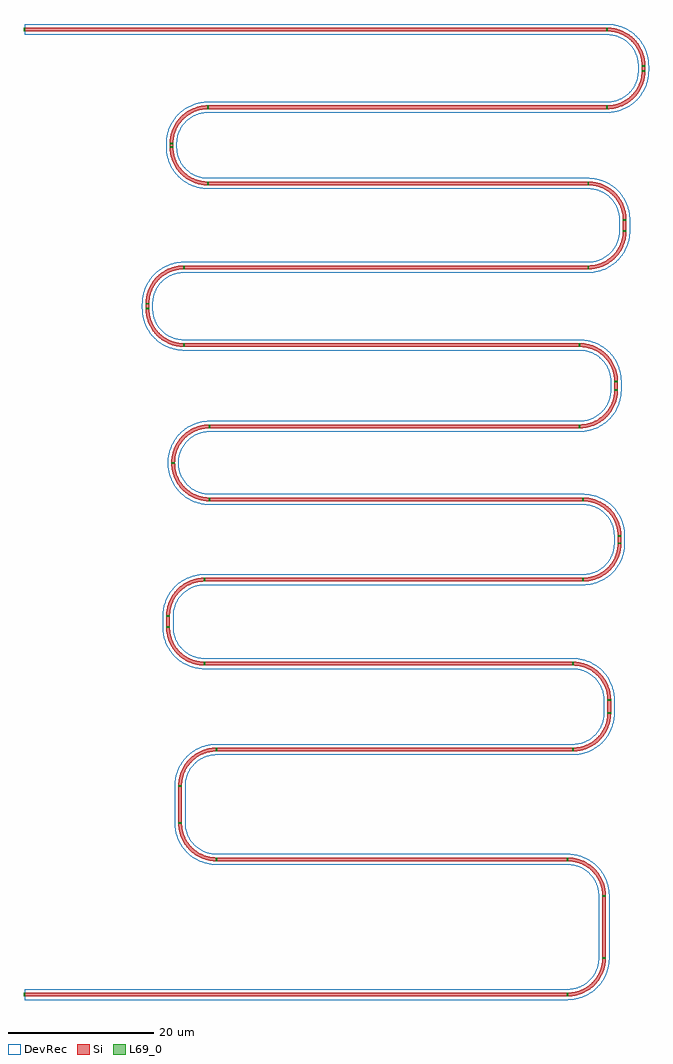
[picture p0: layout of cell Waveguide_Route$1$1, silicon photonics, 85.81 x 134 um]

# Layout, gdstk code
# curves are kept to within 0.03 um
from math import pi, radians
import gdstk
lib = gdstk.Library(unit=1e-6, precision=1e-09)
def R(c, l, rs):  # rectangles x0, y0, x1, y1
    for r in rs: c.add(gdstk.rectangle(r[:2], r[2:], *l))
def P(c, l, *ps):  # polygons
    for p in ps: c.add(gdstk.Polygon(p, *l))
Si = (1, 0)
DevRec = (68, 0)
L69_0 = (69, 0)

waveguide_bend_4 = lib.new_cell('Waveguide_Bend$4')
P(waveguide_bend_4, Si, [(-5,-0.25),(-5,0.25),(-4.057,0.345),(-3.151,0.625),(-2.432,1.004),(-1.69,1.594),(-1.079,2.319),(-0.625,3.151),(-0.345,4.057),(-0.25,5),(0.25,5),(0.145,3.957),(-0.164,2.956),(-0.583,2.162),(-1.235,1.341),(-2.037,0.666),(-2.956,0.164),(-3.957,-0.145)])
P(waveguide_bend_4, DevRec, [(-5,-0.75),(-5,0.75),(-4.156,0.835),(-3.346,1.085),(-2.702,1.425),(-2.038,1.952),(-1.492,2.601),(-1.085,3.346),(-0.835,4.156),(-0.75,5),(0.75,5),(0.666,4.019),(0.358,2.914),(-0.163,1.891),(-0.876,0.993),(-1.754,0.254),(-2.762,-0.296),(-3.858,-0.635)])
waveguide_bend_4.add(gdstk.FlexPath([(0,5.1),(0,4.9)], 0.5, ends="flush", simple_path=True, layer=69, datatype=0))  # L69_0
waveguide_bend_4.add(gdstk.FlexPath([(-4.9,0),(-5.1,0)], 0.5, ends="flush", simple_path=True, layer=69, datatype=0))  # L69_0
waveguide_bend_4.add(gdstk.Label('Lumerical_INTERCONNECT_library=Design kits/ebeam_v1.2', (-4.5,0), layer=68, texttype=0))
waveguide_bend_4.add(gdstk.Label('Lumerical_INTERCONNECT_component=ebeam_bend_1550', (-4.5,1.25), layer=68, texttype=0))
waveguide_bend_4.add(gdstk.Label('Spice_param:radius=5.000u wg_width=0.500u', (-4.5,2.5), layer=68, texttype=0))
waveguide_bend_4.add(gdstk.Label('pin2', (0,5), layer=69, texttype=0))
waveguide_bend_4.add(gdstk.Label('pin1', (-5,0), layer=69, texttype=0))

waveguide_straight_37_1 = lib.new_cell('Waveguide_Straight$37$1')
R(waveguide_straight_37_1, Si, [(-0.34,-0.25,0.34,0.25)])
R(waveguide_straight_37_1, DevRec, [(-0.34,-0.75,0.34,0.75)])
waveguide_straight_37_1.add(gdstk.FlexPath([(-0.44,0),(-0.24,0)], 0.5, ends="flush", simple_path=True, layer=69, datatype=0))  # L69_0
waveguide_straight_37_1.add(gdstk.FlexPath([(0.24,0),(0.44,0)], 0.5, ends="flush", simple_path=True, layer=69, datatype=0))  # L69_0
waveguide_straight_37_1.add(gdstk.Label('Lumerical_INTERCONNECT_library=Design kits/ebeam_v1.2', (0,0), layer=68, texttype=0))
waveguide_straight_37_1.add(gdstk.Label('Lumerical_INTERCONNECT_component=ebeam_wg_integral_1550', (0.068,0), layer=68, texttype=0))
waveguide_straight_37_1.add(gdstk.Label('Spice_param:wg_width=0.500u wg_length=0.680u', (0.075,0), layer=68, texttype=0))
waveguide_straight_37_1.add(gdstk.Label('pin1', (-0.34,0), layer=69, texttype=0))
waveguide_straight_37_1.add(gdstk.Label('pin2', (0.34,0), layer=69, texttype=0))

waveguide_straight_73 = lib.new_cell('Waveguide_Straight$73')
R(waveguide_straight_73, Si, [(-27.405,-0.25,27.405,0.25)])
R(waveguide_straight_73, DevRec, [(-27.405,-0.75,27.405,0.75)])
waveguide_straight_73.add(gdstk.FlexPath([(-27.505,0),(-27.305,0)], 0.5, ends="flush", simple_path=True, layer=69, datatype=0))  # L69_0
waveguide_straight_73.add(gdstk.FlexPath([(27.305,0),(27.505,0)], 0.5, ends="flush", simple_path=True, layer=69, datatype=0))  # L69_0
waveguide_straight_73.add(gdstk.Label('Lumerical_INTERCONNECT_library=Design kits/ebeam_v1.2', (0,0), layer=68, texttype=0))
waveguide_straight_73.add(gdstk.Label('Lumerical_INTERCONNECT_component=ebeam_wg_integral_1550', (5.481,0), layer=68, texttype=0))
waveguide_straight_73.add(gdstk.Label('Spice_param:wg_width=0.500u wg_length=54.810u', (6.09,0), layer=68, texttype=0))
waveguide_straight_73.add(gdstk.Label('pin1', (-27.405,0), layer=69, texttype=0))
waveguide_straight_73.add(gdstk.Label('pin2', (27.405,0), layer=69, texttype=0))

waveguide_straight_41_1 = lib.new_cell('Waveguide_Straight$41$1')
R(waveguide_straight_41_1, Si, [(-0.23,-0.25,0.23,0.25)])
R(waveguide_straight_41_1, DevRec, [(-0.23,-0.75,0.23,0.75)])
waveguide_straight_41_1.add(gdstk.FlexPath([(-0.33,0),(-0.13,0)], 0.5, ends="flush", simple_path=True, layer=69, datatype=0))  # L69_0
waveguide_straight_41_1.add(gdstk.FlexPath([(0.13,0),(0.33,0)], 0.5, ends="flush", simple_path=True, layer=69, datatype=0))  # L69_0
waveguide_straight_41_1.add(gdstk.Label('Lumerical_INTERCONNECT_library=Design kits/ebeam_v1.2', (0,0), layer=68, texttype=0))
waveguide_straight_41_1.add(gdstk.Label('Lumerical_INTERCONNECT_component=ebeam_wg_integral_1550', (0.046,0), layer=68, texttype=0))
waveguide_straight_41_1.add(gdstk.Label('Spice_param:wg_width=0.500u wg_length=0.460u', (0.051,0), layer=68, texttype=0))
waveguide_straight_41_1.add(gdstk.Label('pin1', (-0.23,0), layer=69, texttype=0))
waveguide_straight_41_1.add(gdstk.Label('pin2', (0.23,0), layer=69, texttype=0))

waveguide_straight_44_1 = lib.new_cell('Waveguide_Straight$44$1')
R(waveguide_straight_44_1, Si, [(-26.11,-0.25,26.11,0.25)])
R(waveguide_straight_44_1, DevRec, [(-26.11,-0.75,26.11,0.75)])
waveguide_straight_44_1.add(gdstk.FlexPath([(-26.21,0),(-26.01,0)], 0.5, ends="flush", simple_path=True, layer=69, datatype=0))  # L69_0
waveguide_straight_44_1.add(gdstk.FlexPath([(26.01,0),(26.21,0)], 0.5, ends="flush", simple_path=True, layer=69, datatype=0))  # L69_0
waveguide_straight_44_1.add(gdstk.Label('Lumerical_INTERCONNECT_library=Design kits/ebeam_v1.2', (0,0), layer=68, texttype=0))
waveguide_straight_44_1.add(gdstk.Label('Lumerical_INTERCONNECT_component=ebeam_wg_integral_1550', (5.222,0), layer=68, texttype=0))
waveguide_straight_44_1.add(gdstk.Label('Spice_param:wg_width=0.500u wg_length=52.220u', (5.802,0), layer=68, texttype=0))
waveguide_straight_44_1.add(gdstk.Label('pin1', (-26.11,0), layer=69, texttype=0))
waveguide_straight_44_1.add(gdstk.Label('pin2', (26.11,0), layer=69, texttype=0))

waveguide_straight_45_1 = lib.new_cell('Waveguide_Straight$45$1')
R(waveguide_straight_45_1, Si, [(-0.76,-0.25,0.76,0.25)])
R(waveguide_straight_45_1, DevRec, [(-0.76,-0.75,0.76,0.75)])
waveguide_straight_45_1.add(gdstk.FlexPath([(-0.86,0),(-0.66,0)], 0.5, ends="flush", simple_path=True, layer=69, datatype=0))  # L69_0
waveguide_straight_45_1.add(gdstk.FlexPath([(0.66,0),(0.86,0)], 0.5, ends="flush", simple_path=True, layer=69, datatype=0))  # L69_0
waveguide_straight_45_1.add(gdstk.Label('Lumerical_INTERCONNECT_library=Design kits/ebeam_v1.2', (0,0), layer=68, texttype=0))
waveguide_straight_45_1.add(gdstk.Label('Lumerical_INTERCONNECT_component=ebeam_wg_integral_1550', (0.152,0), layer=68, texttype=0))
waveguide_straight_45_1.add(gdstk.Label('Spice_param:wg_width=0.500u wg_length=1.520u', (0.168,0), layer=68, texttype=0))
waveguide_straight_45_1.add(gdstk.Label('pin1', (-0.76,0), layer=69, texttype=0))
waveguide_straight_45_1.add(gdstk.Label('pin2', (0.76,0), layer=69, texttype=0))

waveguide_straight_51 = lib.new_cell('Waveguide_Straight$51')
R(waveguide_straight_51, Si, [(-27.76,-0.25,27.76,0.25)])
R(waveguide_straight_51, DevRec, [(-27.76,-0.75,27.76,0.75)])
waveguide_straight_51.add(gdstk.FlexPath([(-27.86,0),(-27.66,0)], 0.5, ends="flush", simple_path=True, layer=69, datatype=0))  # L69_0
waveguide_straight_51.add(gdstk.FlexPath([(27.66,0),(27.86,0)], 0.5, ends="flush", simple_path=True, layer=69, datatype=0))  # L69_0
waveguide_straight_51.add(gdstk.Label('Lumerical_INTERCONNECT_library=Design kits/ebeam_v1.2', (0,0), layer=68, texttype=0))
waveguide_straight_51.add(gdstk.Label('Lumerical_INTERCONNECT_component=ebeam_wg_integral_1550', (5.552,0), layer=68, texttype=0))
waveguide_straight_51.add(gdstk.Label('Spice_param:wg_width=0.500u wg_length=55.520u', (6.168,0), layer=68, texttype=0))
waveguide_straight_51.add(gdstk.Label('pin1', (-27.76,0), layer=69, texttype=0))
waveguide_straight_51.add(gdstk.Label('pin2', (27.76,0), layer=69, texttype=0))

waveguide_straight_52 = lib.new_cell('Waveguide_Straight$52')
R(waveguide_straight_52, Si, [(-0.335,-0.25,0.335,0.25)])
R(waveguide_straight_52, DevRec, [(-0.335,-0.75,0.335,0.75)])
waveguide_straight_52.add(gdstk.FlexPath([(-0.435,0),(-0.235,0)], 0.5, ends="flush", simple_path=True, layer=69, datatype=0))  # L69_0
waveguide_straight_52.add(gdstk.FlexPath([(0.235,0),(0.435,0)], 0.5, ends="flush", simple_path=True, layer=69, datatype=0))  # L69_0
waveguide_straight_52.add(gdstk.Label('Lumerical_INTERCONNECT_library=Design kits/ebeam_v1.2', (0,0), layer=68, texttype=0))
waveguide_straight_52.add(gdstk.Label('Lumerical_INTERCONNECT_component=ebeam_wg_integral_1550', (0.067,0), layer=68, texttype=0))
waveguide_straight_52.add(gdstk.Label('Spice_param:wg_width=0.500u wg_length=0.670u', (0.074,0), layer=68, texttype=0))
waveguide_straight_52.add(gdstk.Label('pin1', (-0.335,0), layer=69, texttype=0))
waveguide_straight_52.add(gdstk.Label('pin2', (0.335,0), layer=69, texttype=0))

waveguide_straight_54 = lib.new_cell('Waveguide_Straight$54')
R(waveguide_straight_54, Si, [(-27.17,-0.25,27.17,0.25)])
R(waveguide_straight_54, DevRec, [(-27.17,-0.75,27.17,0.75)])
waveguide_straight_54.add(gdstk.FlexPath([(-27.27,0),(-27.07,0)], 0.5, ends="flush", simple_path=True, layer=69, datatype=0))  # L69_0
waveguide_straight_54.add(gdstk.FlexPath([(27.07,0),(27.27,0)], 0.5, ends="flush", simple_path=True, layer=69, datatype=0))  # L69_0
waveguide_straight_54.add(gdstk.Label('Lumerical_INTERCONNECT_library=Design kits/ebeam_v1.2', (0,0), layer=68, texttype=0))
waveguide_straight_54.add(gdstk.Label('Lumerical_INTERCONNECT_component=ebeam_wg_integral_1550', (5.434,0), layer=68, texttype=0))
waveguide_straight_54.add(gdstk.Label('Spice_param:wg_width=0.500u wg_length=54.340u', (6.037,0), layer=68, texttype=0))
waveguide_straight_54.add(gdstk.Label('pin1', (-27.17,0), layer=69, texttype=0))
waveguide_straight_54.add(gdstk.Label('pin2', (27.17,0), layer=69, texttype=0))

waveguide_straight_55 = lib.new_cell('Waveguide_Straight$55')
R(waveguide_straight_55, Si, [(-0.58,-0.25,0.58,0.25)])
R(waveguide_straight_55, DevRec, [(-0.58,-0.75,0.58,0.75)])
waveguide_straight_55.add(gdstk.FlexPath([(-0.68,0),(-0.48,0)], 0.5, ends="flush", simple_path=True, layer=69, datatype=0))  # L69_0
waveguide_straight_55.add(gdstk.FlexPath([(0.48,0),(0.68,0)], 0.5, ends="flush", simple_path=True, layer=69, datatype=0))  # L69_0
waveguide_straight_55.add(gdstk.Label('Lumerical_INTERCONNECT_library=Design kits/ebeam_v1.2', (0,0), layer=68, texttype=0))
waveguide_straight_55.add(gdstk.Label('Lumerical_INTERCONNECT_component=ebeam_wg_integral_1550', (0.116,0), layer=68, texttype=0))
waveguide_straight_55.add(gdstk.Label('Spice_param:wg_width=0.500u wg_length=1.160u', (0.128,0), layer=68, texttype=0))
waveguide_straight_55.add(gdstk.Label('pin1', (-0.58,0), layer=69, texttype=0))
waveguide_straight_55.add(gdstk.Label('pin2', (0.58,0), layer=69, texttype=0))

waveguide_straight_56 = lib.new_cell('Waveguide_Straight$56')
R(waveguide_straight_56, Si, [(-25.405,-0.25,25.405,0.25)])
R(waveguide_straight_56, DevRec, [(-25.405,-0.75,25.405,0.75)])
waveguide_straight_56.add(gdstk.FlexPath([(-25.505,0),(-25.305,0)], 0.5, ends="flush", simple_path=True, layer=69, datatype=0))  # L69_0
waveguide_straight_56.add(gdstk.FlexPath([(25.305,0),(25.505,0)], 0.5, ends="flush", simple_path=True, layer=69, datatype=0))  # L69_0
waveguide_straight_56.add(gdstk.Label('Lumerical_INTERCONNECT_library=Design kits/ebeam_v1.2', (0,0), layer=68, texttype=0))
waveguide_straight_56.add(gdstk.Label('Lumerical_INTERCONNECT_component=ebeam_wg_integral_1550', (5.081,0), layer=68, texttype=0))
waveguide_straight_56.add(gdstk.Label('Spice_param:wg_width=0.500u wg_length=50.810u', (5.645,0), layer=68, texttype=0))
waveguide_straight_56.add(gdstk.Label('pin1', (-25.405,0), layer=69, texttype=0))
waveguide_straight_56.add(gdstk.Label('pin2', (25.405,0), layer=69, texttype=0))

waveguide_straight_61 = lib.new_cell('Waveguide_Straight$61')
R(waveguide_straight_61, Si, [(-0.015,-0.25,0.015,0.25)])
R(waveguide_straight_61, DevRec, [(-0.015,-0.75,0.015,0.75)])
waveguide_straight_61.add(gdstk.FlexPath([(-0.115,0),(0.085,0)], 0.5, ends="flush", simple_path=True, layer=69, datatype=0))  # L69_0
waveguide_straight_61.add(gdstk.FlexPath([(-0.085,0),(0.115,0)], 0.5, ends="flush", simple_path=True, layer=69, datatype=0))  # L69_0
waveguide_straight_61.add(gdstk.Label('Lumerical_INTERCONNECT_library=Design kits/ebeam_v1.2', (0,0), layer=68, texttype=0))
waveguide_straight_61.add(gdstk.Label('Lumerical_INTERCONNECT_component=ebeam_wg_integral_1550', (0.003,0), layer=68, texttype=0))
waveguide_straight_61.add(gdstk.Label('Spice_param:wg_width=0.500u wg_length=0.030u', (0.003,0), layer=68, texttype=0))
waveguide_straight_61.add(gdstk.Label('pin1', (-0.015,0), layer=69, texttype=0))
waveguide_straight_61.add(gdstk.Label('pin2', (0.015,0), layer=69, texttype=0))

waveguide_straight_57 = lib.new_cell('Waveguide_Straight$57')
R(waveguide_straight_57, Si, [(-25.64,-0.25,25.64,0.25)])
R(waveguide_straight_57, DevRec, [(-25.64,-0.75,25.64,0.75)])
waveguide_straight_57.add(gdstk.FlexPath([(-25.74,0),(-25.54,0)], 0.5, ends="flush", simple_path=True, layer=69, datatype=0))  # L69_0
waveguide_straight_57.add(gdstk.FlexPath([(25.54,0),(25.74,0)], 0.5, ends="flush", simple_path=True, layer=69, datatype=0))  # L69_0
waveguide_straight_57.add(gdstk.Label('Lumerical_INTERCONNECT_library=Design kits/ebeam_v1.2', (0,0), layer=68, texttype=0))
waveguide_straight_57.add(gdstk.Label('Lumerical_INTERCONNECT_component=ebeam_wg_integral_1550', (5.128,0), layer=68, texttype=0))
waveguide_straight_57.add(gdstk.Label('Spice_param:wg_width=0.500u wg_length=51.280u', (5.697,0), layer=68, texttype=0))
waveguide_straight_57.add(gdstk.Label('pin1', (-25.64,0), layer=69, texttype=0))
waveguide_straight_57.add(gdstk.Label('pin2', (25.64,0), layer=69, texttype=0))

waveguide_straight_58 = lib.new_cell('Waveguide_Straight$58')
R(waveguide_straight_58, Si, [(-0.51,-0.25,0.51,0.25)])
R(waveguide_straight_58, DevRec, [(-0.51,-0.75,0.51,0.75)])
waveguide_straight_58.add(gdstk.FlexPath([(-0.61,0),(-0.41,0)], 0.5, ends="flush", simple_path=True, layer=69, datatype=0))  # L69_0
waveguide_straight_58.add(gdstk.FlexPath([(0.41,0),(0.61,0)], 0.5, ends="flush", simple_path=True, layer=69, datatype=0))  # L69_0
waveguide_straight_58.add(gdstk.Label('Lumerical_INTERCONNECT_library=Design kits/ebeam_v1.2', (0,0), layer=68, texttype=0))
waveguide_straight_58.add(gdstk.Label('Lumerical_INTERCONNECT_component=ebeam_wg_integral_1550', (0.102,0), layer=68, texttype=0))
waveguide_straight_58.add(gdstk.Label('Spice_param:wg_width=0.500u wg_length=1.020u', (0.113,0), layer=68, texttype=0))
waveguide_straight_58.add(gdstk.Label('pin1', (-0.51,0), layer=69, texttype=0))
waveguide_straight_58.add(gdstk.Label('pin2', (0.51,0), layer=69, texttype=0))

waveguide_straight_59 = lib.new_cell('Waveguide_Straight$59')
R(waveguide_straight_59, Si, [(-25.99,-0.25,25.99,0.25)])
R(waveguide_straight_59, DevRec, [(-25.99,-0.75,25.99,0.75)])
waveguide_straight_59.add(gdstk.FlexPath([(-26.09,0),(-25.89,0)], 0.5, ends="flush", simple_path=True, layer=69, datatype=0))  # L69_0
waveguide_straight_59.add(gdstk.FlexPath([(25.89,0),(26.09,0)], 0.5, ends="flush", simple_path=True, layer=69, datatype=0))  # L69_0
waveguide_straight_59.add(gdstk.Label('Lumerical_INTERCONNECT_library=Design kits/ebeam_v1.2', (0,0), layer=68, texttype=0))
waveguide_straight_59.add(gdstk.Label('Lumerical_INTERCONNECT_component=ebeam_wg_integral_1550', (5.198,0), layer=68, texttype=0))
waveguide_straight_59.add(gdstk.Label('Spice_param:wg_width=0.500u wg_length=51.980u', (5.775,0), layer=68, texttype=0))
waveguide_straight_59.add(gdstk.Label('pin1', (-25.99,0), layer=69, texttype=0))
waveguide_straight_59.add(gdstk.Label('pin2', (25.99,0), layer=69, texttype=0))

waveguide_straight_60 = lib.new_cell('Waveguide_Straight$60')
R(waveguide_straight_60, Si, [(-0.765,-0.25,0.765,0.25)])
R(waveguide_straight_60, DevRec, [(-0.765,-0.75,0.765,0.75)])
waveguide_straight_60.add(gdstk.FlexPath([(-0.865,0),(-0.665,0)], 0.5, ends="flush", simple_path=True, layer=69, datatype=0))  # L69_0
waveguide_straight_60.add(gdstk.FlexPath([(0.665,0),(0.865,0)], 0.5, ends="flush", simple_path=True, layer=69, datatype=0))  # L69_0
waveguide_straight_60.add(gdstk.Label('Lumerical_INTERCONNECT_library=Design kits/ebeam_v1.2', (0,0), layer=68, texttype=0))
waveguide_straight_60.add(gdstk.Label('Lumerical_INTERCONNECT_component=ebeam_wg_integral_1550', (0.153,0), layer=68, texttype=0))
waveguide_straight_60.add(gdstk.Label('Spice_param:wg_width=0.500u wg_length=1.530u', (0.17,0), layer=68, texttype=0))
waveguide_straight_60.add(gdstk.Label('pin1', (-0.765,0), layer=69, texttype=0))
waveguide_straight_60.add(gdstk.Label('pin2', (0.765,0), layer=69, texttype=0))

waveguide_straight_27_1 = lib.new_cell('Waveguide_Straight$27$1')
R(waveguide_straight_27_1, Si, [(-25.285,-0.25,25.285,0.25)])
R(waveguide_straight_27_1, DevRec, [(-25.285,-0.75,25.285,0.75)])
waveguide_straight_27_1.add(gdstk.FlexPath([(-25.385,0),(-25.185,0)], 0.5, ends="flush", simple_path=True, layer=69, datatype=0))  # L69_0
waveguide_straight_27_1.add(gdstk.FlexPath([(25.185,0),(25.385,0)], 0.5, ends="flush", simple_path=True, layer=69, datatype=0))  # L69_0
waveguide_straight_27_1.add(gdstk.Label('Lumerical_INTERCONNECT_library=Design kits/ebeam_v1.2', (0,0), layer=68, texttype=0))
waveguide_straight_27_1.add(gdstk.Label('Lumerical_INTERCONNECT_component=ebeam_wg_integral_1550', (5.057,0), layer=68, texttype=0))
waveguide_straight_27_1.add(gdstk.Label('Spice_param:wg_width=0.500u wg_length=50.570u', (5.618,0), layer=68, texttype=0))
waveguide_straight_27_1.add(gdstk.Label('pin1', (-25.285,0), layer=69, texttype=0))
waveguide_straight_27_1.add(gdstk.Label('pin2', (25.285,0), layer=69, texttype=0))

waveguide_straight_28_1 = lib.new_cell('Waveguide_Straight$28$1')
R(waveguide_straight_28_1, Si, [(-0.895,-0.25,0.895,0.25)])
R(waveguide_straight_28_1, DevRec, [(-0.895,-0.75,0.895,0.75)])
waveguide_straight_28_1.add(gdstk.FlexPath([(-0.995,0),(-0.795,0)], 0.5, ends="flush", simple_path=True, layer=69, datatype=0))  # L69_0
waveguide_straight_28_1.add(gdstk.FlexPath([(0.795,0),(0.995,0)], 0.5, ends="flush", simple_path=True, layer=69, datatype=0))  # L69_0
waveguide_straight_28_1.add(gdstk.Label('Lumerical_INTERCONNECT_library=Design kits/ebeam_v1.2', (0,0), layer=68, texttype=0))
waveguide_straight_28_1.add(gdstk.Label('Lumerical_INTERCONNECT_component=ebeam_wg_integral_1550', (0.179,0), layer=68, texttype=0))
waveguide_straight_28_1.add(gdstk.Label('Spice_param:wg_width=0.500u wg_length=1.790u', (0.198,0), layer=68, texttype=0))
waveguide_straight_28_1.add(gdstk.Label('pin1', (-0.895,0), layer=69, texttype=0))
waveguide_straight_28_1.add(gdstk.Label('pin2', (0.895,0), layer=69, texttype=0))

waveguide_straight_29_1 = lib.new_cell('Waveguide_Straight$29$1')
R(waveguide_straight_29_1, Si, [(-24.46,-0.25,24.46,0.25)])
R(waveguide_straight_29_1, DevRec, [(-24.46,-0.75,24.46,0.75)])
waveguide_straight_29_1.add(gdstk.FlexPath([(-24.56,0),(-24.36,0)], 0.5, ends="flush", simple_path=True, layer=69, datatype=0))  # L69_0
waveguide_straight_29_1.add(gdstk.FlexPath([(24.36,0),(24.56,0)], 0.5, ends="flush", simple_path=True, layer=69, datatype=0))  # L69_0
waveguide_straight_29_1.add(gdstk.Label('Lumerical_INTERCONNECT_library=Design kits/ebeam_v1.2', (0,0), layer=68, texttype=0))
waveguide_straight_29_1.add(gdstk.Label('Lumerical_INTERCONNECT_component=ebeam_wg_integral_1550', (4.892,0), layer=68, texttype=0))
waveguide_straight_29_1.add(gdstk.Label('Spice_param:wg_width=0.500u wg_length=48.920u', (5.435,0), layer=68, texttype=0))
waveguide_straight_29_1.add(gdstk.Label('pin1', (-24.46,0), layer=69, texttype=0))
waveguide_straight_29_1.add(gdstk.Label('pin2', (24.46,0), layer=69, texttype=0))

waveguide_straight_30_1 = lib.new_cell('Waveguide_Straight$30$1')
R(waveguide_straight_30_1, Si, [(-2.54,-0.25,2.54,0.25)])
R(waveguide_straight_30_1, DevRec, [(-2.54,-0.75,2.54,0.75)])
waveguide_straight_30_1.add(gdstk.FlexPath([(-2.64,0),(-2.44,0)], 0.5, ends="flush", simple_path=True, layer=69, datatype=0))  # L69_0
waveguide_straight_30_1.add(gdstk.FlexPath([(2.44,0),(2.64,0)], 0.5, ends="flush", simple_path=True, layer=69, datatype=0))  # L69_0
waveguide_straight_30_1.add(gdstk.Label('Lumerical_INTERCONNECT_library=Design kits/ebeam_v1.2', (0,0), layer=68, texttype=0))
waveguide_straight_30_1.add(gdstk.Label('Lumerical_INTERCONNECT_component=ebeam_wg_integral_1550', (0.508,0), layer=68, texttype=0))
waveguide_straight_30_1.add(gdstk.Label('Spice_param:wg_width=0.500u wg_length=5.080u', (0.564,0), layer=68, texttype=0))
waveguide_straight_30_1.add(gdstk.Label('pin1', (-2.54,0), layer=69, texttype=0))
waveguide_straight_30_1.add(gdstk.Label('pin2', (2.54,0), layer=69, texttype=0))

waveguide_straight_31_1 = lib.new_cell('Waveguide_Straight$31$1')
R(waveguide_straight_31_1, Si, [(-24.105,-0.25,24.105,0.25)])
R(waveguide_straight_31_1, DevRec, [(-24.105,-0.75,24.105,0.75)])
waveguide_straight_31_1.add(gdstk.FlexPath([(-24.205,0),(-24.005,0)], 0.5, ends="flush", simple_path=True, layer=69, datatype=0))  # L69_0
waveguide_straight_31_1.add(gdstk.FlexPath([(24.005,0),(24.205,0)], 0.5, ends="flush", simple_path=True, layer=69, datatype=0))  # L69_0
waveguide_straight_31_1.add(gdstk.Label('Lumerical_INTERCONNECT_library=Design kits/ebeam_v1.2', (0,0), layer=68, texttype=0))
waveguide_straight_31_1.add(gdstk.Label('Lumerical_INTERCONNECT_component=ebeam_wg_integral_1550', (4.821,0), layer=68, texttype=0))
waveguide_straight_31_1.add(gdstk.Label('Spice_param:wg_width=0.500u wg_length=48.210u', (5.356,0), layer=68, texttype=0))
waveguide_straight_31_1.add(gdstk.Label('pin1', (-24.105,0), layer=69, texttype=0))
waveguide_straight_31_1.add(gdstk.Label('pin2', (24.105,0), layer=69, texttype=0))

waveguide_straight_32_1 = lib.new_cell('Waveguide_Straight$32$1')
R(waveguide_straight_32_1, Si, [(-4.28,-0.25,4.28,0.25)])
R(waveguide_straight_32_1, DevRec, [(-4.28,-0.75,4.28,0.75)])
waveguide_straight_32_1.add(gdstk.FlexPath([(-4.38,0),(-4.18,0)], 0.5, ends="flush", simple_path=True, layer=69, datatype=0))  # L69_0
waveguide_straight_32_1.add(gdstk.FlexPath([(4.18,0),(4.38,0)], 0.5, ends="flush", simple_path=True, layer=69, datatype=0))  # L69_0
waveguide_straight_32_1.add(gdstk.Label('Lumerical_INTERCONNECT_library=Design kits/ebeam_v1.2', (0,0), layer=68, texttype=0))
waveguide_straight_32_1.add(gdstk.Label('Lumerical_INTERCONNECT_component=ebeam_wg_integral_1550', (0.856,0), layer=68, texttype=0))
waveguide_straight_32_1.add(gdstk.Label('Spice_param:wg_width=0.500u wg_length=8.560u', (0.951,0), layer=68, texttype=0))
waveguide_straight_32_1.add(gdstk.Label('pin1', (-4.28,0), layer=69, texttype=0))
waveguide_straight_32_1.add(gdstk.Label('pin2', (4.28,0), layer=69, texttype=0))

waveguide_straight_40_1 = lib.new_cell('Waveguide_Straight$40$1')
R(waveguide_straight_40_1, Si, [(-39.98,-0.25,39.98,0.25)])
R(waveguide_straight_40_1, DevRec, [(-39.98,-0.75,39.98,0.75)])
waveguide_straight_40_1.add(gdstk.FlexPath([(-40.08,0),(-39.88,0)], 0.5, ends="flush", simple_path=True, layer=69, datatype=0))  # L69_0
waveguide_straight_40_1.add(gdstk.FlexPath([(39.88,0),(40.08,0)], 0.5, ends="flush", simple_path=True, layer=69, datatype=0))  # L69_0
waveguide_straight_40_1.add(gdstk.Label('Lumerical_INTERCONNECT_library=Design kits/ebeam_v1.2', (0,0), layer=68, texttype=0))
waveguide_straight_40_1.add(gdstk.Label('Lumerical_INTERCONNECT_component=ebeam_wg_integral_1550', (7.996,0), layer=68, texttype=0))
waveguide_straight_40_1.add(gdstk.Label('Spice_param:wg_width=0.500u wg_length=79.960u', (8.884,0), layer=68, texttype=0))
waveguide_straight_40_1.add(gdstk.Label('pin1', (-39.98,0), layer=69, texttype=0))
waveguide_straight_40_1.add(gdstk.Label('pin2', (39.98,0), layer=69, texttype=0))

waveguide_straight_34_1 = lib.new_cell('Waveguide_Straight$34$1')
R(waveguide_straight_34_1, Si, [(-37.27,-0.25,37.27,0.25)])
R(waveguide_straight_34_1, DevRec, [(-37.27,-0.75,37.27,0.75)])
waveguide_straight_34_1.add(gdstk.FlexPath([(-37.37,0),(-37.17,0)], 0.5, ends="flush", simple_path=True, layer=69, datatype=0))  # L69_0
waveguide_straight_34_1.add(gdstk.FlexPath([(37.17,0),(37.37,0)], 0.5, ends="flush", simple_path=True, layer=69, datatype=0))  # L69_0
waveguide_straight_34_1.add(gdstk.Label('Lumerical_INTERCONNECT_library=Design kits/ebeam_v1.2', (0,0), layer=68, texttype=0))
waveguide_straight_34_1.add(gdstk.Label('Lumerical_INTERCONNECT_component=ebeam_wg_integral_1550', (7.454,0), layer=68, texttype=0))
waveguide_straight_34_1.add(gdstk.Label('Spice_param:wg_width=0.500u wg_length=74.540u', (8.282,0), layer=68, texttype=0))
waveguide_straight_34_1.add(gdstk.Label('pin1', (-37.27,0), layer=69, texttype=0))
waveguide_straight_34_1.add(gdstk.Label('pin2', (37.27,0), layer=69, texttype=0))

waveguide_route_1_1 = lib.new_cell('Waveguide_Route$1$1')
waveguide_route_1_1.add(gdstk.Reference(waveguide_bend_4, (139.76,141.75), x_reflection=True))
waveguide_route_1_1.add(gdstk.Reference(waveguide_bend_4, (139.76,131.07), rotation=3*pi/2, x_reflection=True))
waveguide_route_1_1.add(gdstk.Reference(waveguide_bend_4, (74.95,131.07), rotation=pi))
waveguide_route_1_1.add(gdstk.Reference(waveguide_bend_4, (74.95,120.61), rotation=3*pi/2))
waveguide_route_1_1.add(gdstk.Reference(waveguide_bend_4, (137.17,120.61), x_reflection=True))
waveguide_route_1_1.add(gdstk.Reference(waveguide_bend_4, (137.17,109.09), rotation=3*pi/2, x_reflection=True))
waveguide_route_1_1.add(gdstk.Reference(waveguide_bend_4, (71.65,109.09), rotation=pi))
waveguide_route_1_1.add(gdstk.Reference(waveguide_bend_4, (71.65,98.42), rotation=3*pi/2))
waveguide_route_1_1.add(gdstk.Reference(waveguide_bend_4, (135.99,98.42), x_reflection=True))
waveguide_route_1_1.add(gdstk.Reference(waveguide_bend_4, (135.99,87.26), rotation=3*pi/2, x_reflection=True))
waveguide_route_1_1.add(gdstk.Reference(waveguide_bend_4, (75.18,87.26), rotation=pi))
waveguide_route_1_1.add(gdstk.Reference(waveguide_bend_4, (75.18,77.23), rotation=3*pi/2))
waveguide_route_1_1.add(gdstk.Reference(waveguide_bend_4, (136.46,77.23), x_reflection=True))
waveguide_route_1_1.add(gdstk.Reference(waveguide_bend_4, (136.46,66.21), rotation=3*pi/2, x_reflection=True))
waveguide_route_1_1.add(gdstk.Reference(waveguide_bend_4, (74.48,66.21), rotation=pi))
waveguide_route_1_1.add(gdstk.Reference(waveguide_bend_4, (74.48,54.68), rotation=3*pi/2))
waveguide_route_1_1.add(gdstk.Reference(waveguide_bend_4, (135.05,54.68), x_reflection=True))
waveguide_route_1_1.add(gdstk.Reference(waveguide_bend_4, (135.05,42.89), rotation=3*pi/2, x_reflection=True))
waveguide_route_1_1.add(gdstk.Reference(waveguide_bend_4, (76.13,42.89), rotation=pi))
waveguide_route_1_1.add(gdstk.Reference(waveguide_bend_4, (76.13,27.81), rotation=3*pi/2))
waveguide_route_1_1.add(gdstk.Reference(waveguide_bend_4, (134.34,27.81), x_reflection=True))
waveguide_route_1_1.add(gdstk.Reference(waveguide_bend_4, (134.34,9.25), rotation=3*pi/2, x_reflection=True))
waveguide_route_1_1.add(gdstk.Reference(waveguide_straight_37_1, (139.76,136.41), rotation=3*pi/2))
waveguide_route_1_1.add(gdstk.Reference(waveguide_straight_73, (107.355,131.07), rotation=pi))
waveguide_route_1_1.add(gdstk.Reference(waveguide_straight_41_1, (74.95,125.84), rotation=3*pi/2))
waveguide_route_1_1.add(gdstk.Reference(waveguide_straight_44_1, (106.06,120.61)))
waveguide_route_1_1.add(gdstk.Reference(waveguide_straight_45_1, (137.17,114.85), rotation=3*pi/2))
waveguide_route_1_1.add(gdstk.Reference(waveguide_straight_51, (104.41,109.09), rotation=pi))
waveguide_route_1_1.add(gdstk.Reference(waveguide_straight_52, (71.65,103.755), rotation=3*pi/2))
waveguide_route_1_1.add(gdstk.Reference(waveguide_straight_54, (103.82,98.42)))
waveguide_route_1_1.add(gdstk.Reference(waveguide_straight_55, (135.99,92.84), rotation=3*pi/2))
waveguide_route_1_1.add(gdstk.Reference(waveguide_straight_56, (105.585,87.26), rotation=pi))
waveguide_route_1_1.add(gdstk.Reference(waveguide_straight_61, (75.18,82.245), rotation=3*pi/2))
waveguide_route_1_1.add(gdstk.Reference(waveguide_straight_57, (105.82,77.23)))
waveguide_route_1_1.add(gdstk.Reference(waveguide_straight_58, (136.46,71.72), rotation=3*pi/2))
waveguide_route_1_1.add(gdstk.Reference(waveguide_straight_59, (105.47,66.21), rotation=pi))
waveguide_route_1_1.add(gdstk.Reference(waveguide_straight_60, (74.48,60.445), rotation=3*pi/2))
waveguide_route_1_1.add(gdstk.Reference(waveguide_straight_27_1, (104.765,54.68)))
waveguide_route_1_1.add(gdstk.Reference(waveguide_straight_28_1, (135.05,48.785), rotation=3*pi/2))
waveguide_route_1_1.add(gdstk.Reference(waveguide_straight_29_1, (105.59,42.89), rotation=pi))
waveguide_route_1_1.add(gdstk.Reference(waveguide_straight_30_1, (76.13,35.35), rotation=3*pi/2))
waveguide_route_1_1.add(gdstk.Reference(waveguide_straight_31_1, (105.235,27.81)))
waveguide_route_1_1.add(gdstk.Reference(waveguide_straight_32_1, (134.34,18.53), rotation=3*pi/2))
waveguide_route_1_1.add(gdstk.Reference(waveguide_straight_40_1, (94.78,141.75)))
waveguide_route_1_1.add(gdstk.Reference(waveguide_straight_34_1, (92.07,9.25), rotation=pi))

lib.write_gds('Waveguide_Route_1_1.gds')
